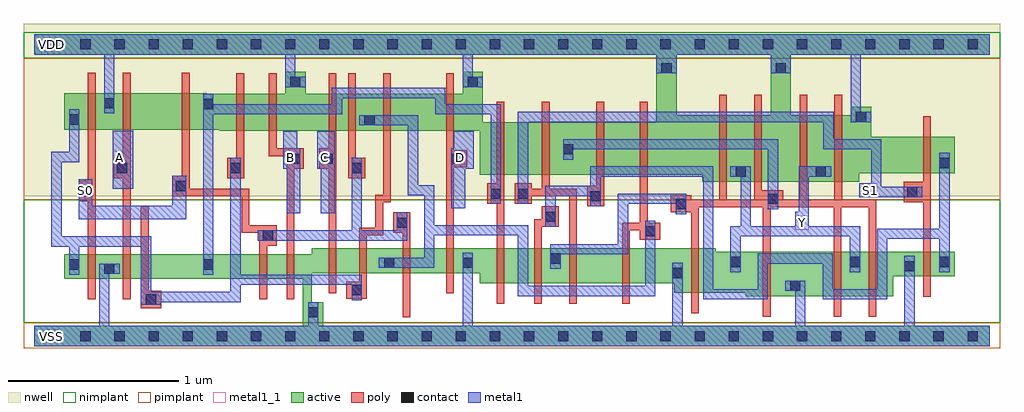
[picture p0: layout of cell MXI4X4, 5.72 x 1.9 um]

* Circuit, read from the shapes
.subckt MXI4X4 A B C D S0 S1 VDD VSS Y
M1 VSS S0 n1 VSS nfet w=0.145u l=0.045u
M2 n2 A VSS VSS nfet w=0.145u l=0.045u
M3 n3 n1 n2 VSS nfet w=0.145u l=0.045u
M4 n4 S0 n3 VSS nfet w=0.145u l=0.045u
M5 VSS B n4 VSS nfet w=0.145u l=0.045u
M6 n5 C VSS VSS nfet w=0.145u l=0.045u
M7 n6 n1 n5 VSS nfet w=0.145u l=0.045u
M8 n7 S0 n6 VSS nfet w=0.145u l=0.045u
M9 VSS D n7 VSS nfet w=0.145u l=0.045u
M10 n8 n3 VSS VSS nfet w=0.205u l=0.045u
M11 n9 n10 n8 VSS nfet w=0.205u l=0.045u
M12 n11 S1 n9 VSS nfet w=0.205u l=0.045u
M13 VSS n6 n11 VSS nfet w=0.205u l=0.045u
M14 Y n9 VSS VSS nfet w=0.26u l=0.045u m=4
M15 n10 S1 VSS VSS nfet w=0.145u l=0.045u
M16 VDD S0 n1 VDD pfet w=0.215u l=0.045u
M17 n12 A VDD VDD pfet w=0.215u l=0.045u
M18 n3 S0 n12 VDD pfet w=0.215u l=0.045u
M19 n13 n1 n3 VDD pfet w=0.215u l=0.045u
M20 VDD B n13 VDD pfet w=0.215u l=0.045u
M21 n14 C VDD VDD pfet w=0.215u l=0.045u
M22 n6 S0 n14 VDD pfet w=0.215u l=0.045u
M23 n15 n1 n6 VDD pfet w=0.215u l=0.045u
M24 VDD D n15 VDD pfet w=0.215u l=0.045u
M25 n16 n3 VDD VDD pfet w=0.31u l=0.045u
M26 n9 S1 n16 VDD pfet w=0.31u l=0.045u
M27 n17 n10 n9 VDD pfet w=0.31u l=0.045u
M28 VDD n6 n17 VDD pfet w=0.31u l=0.045u
M29 Y n9 VDD VDD pfet w=0.39u l=0.045u m=4
M30 n10 S1 VDD VDD pfet w=0.215u l=0.045u
.ends

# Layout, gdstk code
import gdstk
lib = gdstk.Library(unit=1e-6, precision=5e-10)
def R(c, l, rs):  # rectangles x0, y0, x1, y1
    for r in rs: c.add(gdstk.rectangle(r[:2], r[2:], *l))
def A(c, l, x, y, w, h, nx, ny, dx, dy):  # array of equal rectangles
    R(c, l, [(x+i*dx, y+j*dy, x+i*dx+w, y+j*dy+h) for i in range(nx) for j in range(ny)])
def P(c, l, *ps):  # polygons
    for p in ps: c.add(gdstk.Polygon(p, *l))
active = (1, 0)
nwell = (2, 0)
poly = (3, 0)
nimplant = (4, 0)
pimplant = (5, 0)
contact = (6, 0)
metal1 = (7, 0)
metal1_1 = (7, 1)

mxi4x4 = lib.new_cell('MXI4X4')
P(mxi4x4, active, [(0,1.77),(5.6,1.77),(5.6,1.65),(4.435,1.65),(4.435,1.295),(4.785,1.295),(4.785,1.345),(4.905,1.345),(4.905,1.17),(5.395,1.17),(5.395,0.955),(4.835,0.955),(4.835,0.905),(3.915,0.905),(3.915,0.945),(2.61,0.945),(2.61,1.205),(1.085,1.205),(1.085,1.21),(0.175,1.21),(0.175,1.425),(1.01,1.425),(1.01,1.42),(1.47,1.42),(1.47,1.55),(1.59,1.55),(1.59,1.42),(2.51,1.42),(2.51,1.55),(2.63,1.55),(2.63,1.255),(3.645,1.255),(3.645,1.65),(3.765,1.65),(3.765,1.295),(4.315,1.295),(4.315,1.65),(0,1.65)],
  [(1.625,0.515),(3.995,0.515),(3.995,0.495),(5.395,0.495),(5.395,0.35),(5.035,0.35),(5.035,0.235),(4.17,0.235),(4.17,0.255),(3.75,0.255),(3.75,0.31),(2.61,0.31),(2.61,0.37),(1.625,0.37),(1.625,0.2),(1.695,0.2),(1.695,0.06),(5.6,0.06),(5.6,-0.06),(0,-0.06),(0,0.06),(1.575,0.06),(1.575,0.335),(0.175,0.335),(0.175,0.48),(1.625,0.48)])
R(mxi4x4, nwell, [(-0.06,0.82,5.66,1.83)])
P(mxi4x4, poly, [(0.315,1.545),(0.36,1.545),(0.36,0.215),(0.315,0.215),(0.315,0.79),(0.26,0.79),(0.26,0.91),(0.315,0.91)],
  [(0.52,1.545),(0.565,1.545),(0.565,0.215),(0.52,0.215),(0.52,0.925),(0.465,0.925),(0.465,1.045),(0.52,1.045)],
  [(0.865,1.545),(0.91,1.545),(0.91,0.865),(1.26,0.865),(1.26,0.65),(1.42,0.65),(1.42,0.53),(1.365,0.53),(1.365,0.215),(1.32,0.215),(1.32,0.605),(1.215,0.605),(1.215,0.82),(0.81,0.82),(0.81,0.94),(0.865,0.94)],
  [(1.185,1.54),(1.23,1.54),(1.23,0.925),(1.13,0.925),(1.13,1.045),(1.185,1.045)],
  [(1.375,1.54),(1.42,1.54),(1.42,1.1),(1.58,1.1),(1.58,0.98),(1.525,0.98),(1.525,0.215),(1.48,0.215),(1.48,1.055),(1.375,1.055)],
  [(1.725,1.54),(1.77,1.54),(1.77,0.25),(1.725,0.25),(1.725,0.98),(1.67,0.98),(1.67,1.1),(1.725,1.1)],
  [(1.84,1.54),(1.885,1.54),(1.885,1.045),(1.94,1.045),(1.94,0.925),(1.84,0.925)],
  [(2.045,1.54),(2.09,1.54),(2.09,0.785),(2.045,0.785),(2.045,0.59),(1.95,0.59),(1.95,0.22),(1.83,0.22),(1.83,0.32),(1.905,0.32),(1.905,0.635),(2,0.635),(2,0.83),(2.045,0.83)],
  [(2.415,1.54),(2.46,1.54),(2.46,1.09),(2.535,1.09),(2.535,0.99),(2.46,0.99),(2.46,0.25),(2.415,0.25)],
  [(2.71,1.375),(2.755,1.375),(2.755,0.19),(2.71,0.19),(2.71,0.775),(2.655,0.775),(2.655,0.895),(2.71,0.895)],
  [(2.815,0.895),(2.915,0.895),(2.915,0.865),(2.975,0.865),(2.975,1.375),(3.02,1.375),(3.02,0.865),(3.18,0.865),(3.18,0.19),(3.135,0.19),(3.135,0.82),(2.915,0.82),(2.915,0.775),(2.815,0.775)],
  [(3.295,1.375),(3.34,1.375),(3.34,0.76),(3.24,0.76),(3.24,0.88),(3.295,0.88)],
  [(3.55,1.375),(3.595,1.375),(3.595,0.665),(3.67,0.665),(3.67,0.565),(3.55,0.565),(3.55,0.62),(3.49,0.62),(3.49,0.19),(3.445,0.19),(3.445,0.665),(3.55,0.665)],
  [(3.73,0.825),(3.85,0.825),(3.85,0.8),(4.015,0.8),(4.015,1.415),(4.06,1.415),(4.06,0.8),(4.22,0.8),(4.22,1.415),(4.265,1.415),(4.265,0.855),(4.39,0.855),(4.39,0.8),(4.485,0.8),(4.485,1.415),(4.53,1.415),(4.53,0.8),(4.69,0.8),(4.69,1.415),(4.735,1.415),(4.735,0.8),(4.935,0.8),(4.935,0.115),(4.89,0.115),(4.89,0.755),(4.73,0.755),(4.73,0.115),(4.685,0.115),(4.685,0.755),(4.315,0.755),(4.315,0.115),(4.27,0.115),(4.27,0.755),(3.895,0.755),(3.895,0.135),(3.85,0.135),(3.85,0.725),(3.73,0.725)],
  [(2.105,0.725),(2.205,0.725),(2.205,0.11),(2.16,0.11),(2.16,0.605),(2.105,0.605)],
  [(2.975,0.76),(3.075,0.76),(3.075,0.64),(2.975,0.64),(2.975,0.19),(2.93,0.19),(2.93,0.685),(2.975,0.685)],
  [(5.21,1.29),(5.255,1.29),(5.255,0.23),(5.21,0.23),(5.21,0.785),(5.095,0.785),(5.095,0.905),(5.21,0.905)],
  [(0.625,0.76),(0.67,0.76),(0.67,0.265),(0.745,0.265),(0.745,0.165),(0.625,0.165)])
R(mxi4x4, nimplant, [(-0.06,0.08,5.66,0.8), (-0.06,1.63,5.66,1.78)])
R(mxi4x4, pimplant, [(-0.06,-0.07,5.66,0.08), (-0.06,0.8,5.66,1.63)])
A(mxi4x4, contact, 0.07, -0.03, 0.06, 0.06, 28, 2, 0.2, 1.71)
R(mxi4x4, contact, [(1.605,0.11,1.665,0.17), (0.655,0.185,0.715,0.245), (1.86,0.24,1.92,0.3), (4.43,0.265,4.49,0.325), (3.74,0.34,3.8,0.4), (0.41,0.365,0.47,0.425), (5.1,0.38,5.16,0.44), (0.205,0.39,0.265,0.45), (0.99,0.39,1.05,0.45), (2.05,0.4,2.11,0.46), (2.51,0.4,2.57,0.46), (4.08,0.405,4.14,0.465), (4.78,0.405,4.84,0.465), (5.305,0.405,5.365,0.465), (3.025,0.425,3.085,0.485), (1.34,0.56,1.4,0.62), (3.58,0.585,3.64,0.645), (2.125,0.635,2.185,0.695), (2.995,0.67,3.055,0.73), (3.76,0.745,3.82,0.805), (4.3,0.775,4.36,0.835), (3.26,0.79,3.32,0.85), (2.675,0.805,2.735,0.865), (2.835,0.805,2.895,0.865), (5.115,0.815,5.175,0.875), (0.28,0.82,0.34,0.88), (0.83,0.85,0.89,0.91), (4.11,0.935,4.17,0.995), (4.58,0.935,4.64,0.995), (0.485,0.955,0.545,1.015), (1.15,0.955,1.21,1.015), (1.86,0.955,1.92,1.015), (5.305,0.985,5.365,1.045), (1.5,1.01,1.56,1.07), (1.69,1.01,1.75,1.07), (2.445,1.01,2.505,1.07), (3.1,1.065,3.16,1.125), (1.935,1.235,1.995,1.295), (0.205,1.24,0.265,1.3), (4.815,1.255,4.875,1.315), (0.99,1.33,1.05,1.39), (0.41,1.335,0.47,1.395), (1.5,1.46,1.56,1.52), (2.54,1.46,2.6,1.52), (3.675,1.54,3.735,1.6), (4.345,1.54,4.405,1.6)])
R(mxi4x4, metal1, [(0.46,0.865,0.58,1.205)])
P(mxi4x4, metal1, [(0,1.77),(5.6,1.77),(5.6,1.65),(4.845,1.65),(4.845,1.315),(4.905,1.315),(4.905,1.255),(4.785,1.255),(4.785,1.65),(4.435,1.65),(4.435,1.54),(4.315,1.54),(4.315,1.65),(3.765,1.65),(3.765,1.54),(3.645,1.54),(3.645,1.65),(2.57,1.65),(2.57,1.52),(2.63,1.52),(2.63,1.46),(2.51,1.46),(2.51,1.65),(1.53,1.65),(1.53,1.52),(1.59,1.52),(1.59,1.46),(1.47,1.46),(1.47,1.65),(0.47,1.65),(0.47,1.305),(0.41,1.305),(0.41,1.65),(0,1.65)],
  [(0.205,1.33),(0.265,1.33),(0.265,1.02),(0.16,1.02),(0.16,0.585),(0.685,0.585),(0.685,0.26),(1.15,0.26),(1.15,1.045),(1.21,1.045),(1.21,0.36),(1.92,0.36),(1.92,0.21),(1.86,0.21),(1.86,0.3),(1.21,0.3),(1.21,0.2),(0.745,0.2),(0.745,0.185),(0.625,0.185),(0.625,0.525),(0.265,0.525),(0.265,0.36),(0.205,0.36),(0.205,0.525),(0.1,0.525),(0.1,1.08),(0.205,1.08)],
  [(0.99,1.42),(1.05,1.42),(1.05,1.36),(1.745,1.36),(1.745,1.455),(2.41,1.455),(2.41,1.36),(2.735,1.36),(2.735,0.775),(2.675,0.775),(2.675,1.3),(2.35,1.3),(2.35,1.395),(1.805,1.395),(1.805,1.3),(1.05,1.3),(1.05,0.36),(0.99,0.36)],
  [(1.905,1.295),(2.25,1.295),(2.25,0.885),(2.345,0.885),(2.345,0.65),(2.895,0.65),(2.895,0.295),(3.58,0.295),(3.58,0.675),(3.64,0.675),(3.64,0.235),(2.835,0.235),(2.835,0.59),(2.345,0.59),(2.345,0.4),(2.02,0.4),(2.02,0.46),(2.285,0.46),(2.285,0.825),(2.19,0.825),(2.19,1.235),(1.905,1.235)],
  [(0.26,0.92),(0.34,0.92),(0.34,0.765),(0.81,0.765),(0.81,0.94),(0.89,0.94),(0.89,0.685),(0.26,0.685)],
  [(0.38,0.425),(0.5,0.425),(0.5,0.365),(0.44,0.365),(0.44,0.06),(1.605,0.06),(1.605,0.2),(1.665,0.2),(1.665,0.06),(2.51,0.06),(2.51,0.49),(2.57,0.49),(2.57,0.06),(3.74,0.06),(3.74,0.43),(3.8,0.43),(3.8,0.06),(4.46,0.06),(4.46,0.265),(4.4,0.265),(4.4,0.325),(4.52,0.325),(4.52,0.06),(5.1,0.06),(5.1,0.47),(5.16,0.47),(5.16,0.06),(5.6,0.06),(5.6,-0.06),(0,-0.06),(0,0.06),(0.38,0.06)],
  [(1.46,1.2),(1.54,1.2),(1.54,1.1),(1.56,1.1),(1.56,0.72),(1.48,0.72),(1.48,0.98),(1.46,0.98)],
  [(1.66,1.2),(1.76,1.2),(1.76,0.72),(1.68,0.72),(1.68,0.98),(1.66,0.98)],
  [(1.86,1.045),(1.92,1.045),(1.92,0.62),(2.125,0.62),(2.125,0.725),(2.185,0.725),(2.185,0.56),(1.31,0.56),(1.31,0.62),(1.86,0.62)],
  [(2.835,1.315),(4.685,1.315),(4.685,1.155),(4.965,1.155),(4.965,0.875),(5.205,0.875),(5.205,0.815),(4.835,0.815),(4.835,0.895),(4.905,0.895),(4.905,1.095),(4.625,1.095),(4.625,1.255),(2.895,1.255),(2.895,0.775),(2.835,0.775)],
  [(2.46,1.2),(2.575,1.2),(2.575,0.98),(2.525,0.98),(2.525,0.75),(2.445,0.75),(2.445,1.1),(2.46,1.1)],
  [(3.1,1.155),(4.36,1.155),(4.36,0.745),(4.3,0.745),(4.3,1.095),(3.16,1.095),(3.16,1.035),(3.1,1.035)],
  [(3.26,0.995),(3.98,0.995),(3.98,0.275),(4.24,0.275),(4.24,0.485),(4.68,0.485),(4.68,0.275),(4.94,0.275),(4.94,0.63),(5.305,0.63),(5.305,1.075),(5.365,1.075),(5.365,0.375),(5.305,0.375),(5.305,0.57),(5,0.57),(5,0.215),(4.62,0.215),(4.62,0.425),(4.3,0.425),(4.3,0.215),(3.92,0.215),(3.92,0.935),(3.32,0.935),(3.32,0.76),(3.26,0.76),(3.26,0.82),(3.055,0.82),(3.055,0.64),(2.995,0.64),(2.995,0.88),(3.26,0.88)],
  [(4.08,0.995),(4.2,0.995),(4.2,0.645),(4.46,0.645),(4.46,0.73),(4.48,0.73),(4.48,0.995),(4.67,0.995),(4.67,0.935),(4.54,0.935),(4.54,0.645),(4.84,0.645),(4.84,0.375),(4.78,0.375),(4.78,0.585),(4.14,0.585),(4.14,0.375),(4.08,0.375),(4.08,0.645),(4.14,0.645),(4.14,0.935),(4.08,0.935)],
  [(3.42,0.835),(3.82,0.835),(3.82,0.715),(3.76,0.715),(3.76,0.775),(3.48,0.775),(3.48,0.48),(3.085,0.48),(3.085,0.395),(3.025,0.395),(3.025,0.54),(3.42,0.54)])
R(mxi4x4, metal1_1, [(0.06,-0.04,0.14,0.04), (4.46,0.625,4.54,0.705), (0.26,0.815,0.34,0.895), (4.86,0.815,4.94,0.895), (0.46,1.005,0.54,1.085), (1.46,1.005,1.54,1.085), (1.66,1.005,1.74,1.085), (2.46,1.005,2.54,1.085), (0.06,1.67,0.14,1.75)])
mxi4x4.add(gdstk.Label('S1', (4.9,0.855), layer=7, texttype=1))
mxi4x4.add(gdstk.Label('Y', (4.5,0.665), layer=7, texttype=1))
mxi4x4.add(gdstk.Label('D', (2.5,1.045), layer=7, texttype=1))
mxi4x4.add(gdstk.Label('C', (1.7,1.045), layer=7, texttype=1))
mxi4x4.add(gdstk.Label('B', (1.5,1.045), layer=7, texttype=1))
mxi4x4.add(gdstk.Label('A', (0.5,1.045), layer=7, texttype=1))
mxi4x4.add(gdstk.Label('S0', (0.3,0.855), layer=7, texttype=1))
mxi4x4.add(gdstk.Label('VDD', (0.1,1.71), layer=7, texttype=1))
mxi4x4.add(gdstk.Label('VSS', (0.1,0), layer=7, texttype=1))
mxi4x4.add(gdstk.Label('MXI4X4', (0,0), layer=63, texttype=0))

lib.write_gds('MXI4X4.gds')
